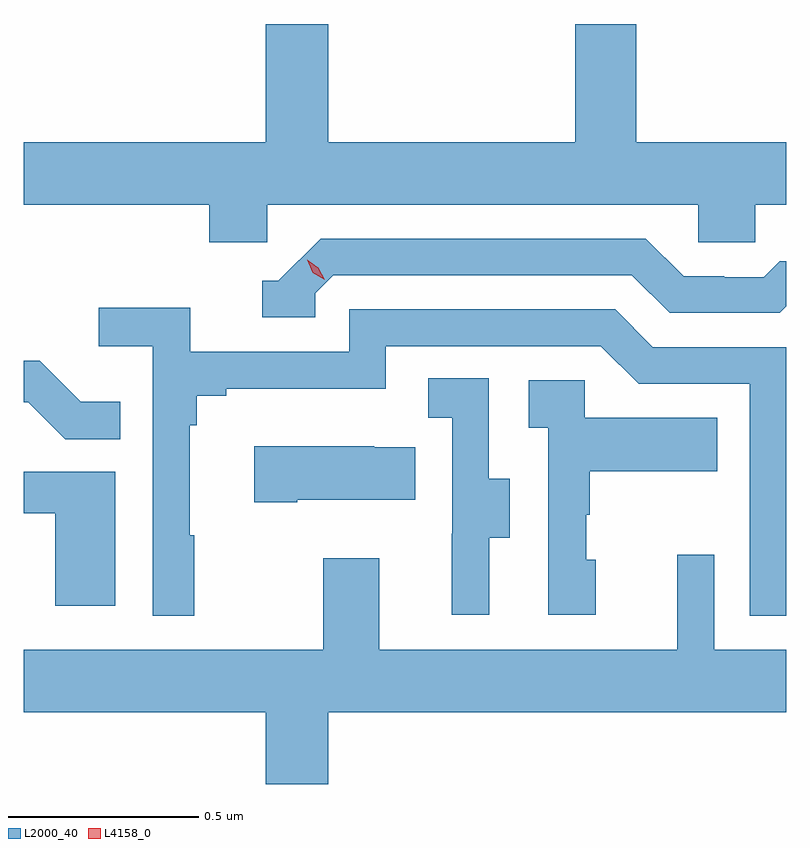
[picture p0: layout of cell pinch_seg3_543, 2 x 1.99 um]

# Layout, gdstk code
import gdstk
lib = gdstk.Library(unit=1e-6, precision=1e-09)
def P(c, l, *ps):  # polygons
    for p in ps: c.add(gdstk.Polygon(p, *l))
L2000_40 = (2000, 40)
L4158_0 = (4158, 0)

pinch_seg3_543 = lib.new_cell('pinch_seg3_543')
P(pinch_seg3_543, L2000_40, [(1124.052,698.252),(1125.183,698.252),(1125.183,698.154),(1125.333,698.154),(1125.333,698.252),(1125.414,698.252),(1125.414,698.416),(1125.021,698.416),(1125.021,698.726),(1124.861,698.726),(1124.861,698.416),(1124.212,698.416),(1124.212,698.726),(1124.048,698.726),(1124.048,698.416),(1123.414,698.416),(1123.414,698.252),(1123.901,698.252),(1123.901,698.154),(1124.052,698.154)],
  [(1124.178,698.019),(1124.226,698.067),(1125.009,698.067),(1125.108,697.968),(1125.397,697.968),(1125.414,697.985),(1125.414,698.104),(1125.397,698.104),(1125.355,698.061),(1125.252,698.061),(1125.252,698.064),(1125.145,698.064),(1125.046,698.163),(1124.193,698.163),(1124.082,698.052),(1124.039,698.052),(1124.039,697.956),(1124.178,697.956)],
  [(1123.861,697.385),(1123.849,697.385),(1123.849,697.673),(1123.868,697.673),(1123.868,697.75),(1123.945,697.75),(1123.945,697.769),(1124.364,697.769),(1124.364,697.881),(1124.928,697.881),(1125.027,697.782),(1125.318,697.782),(1125.318,697.173),(1125.414,697.173),(1125.414,697.878),(1125.064,697.878),(1124.965,697.977),(1124.268,697.977),(1124.268,697.866),(1123.85,697.866),(1123.85,697.982),(1123.611,697.982),(1123.611,697.88),(1123.752,697.88),(1123.752,697.173),(1123.861,697.173)],
  [(1123.667,697.735),(1123.563,697.735),(1123.456,697.842),(1123.414,697.842),(1123.414,697.734),(1123.425,697.734),(1123.523,697.636),(1123.667,697.636)],
  [(1124.635,697.378),(1124.689,697.378),(1124.689,697.533),(1124.634,697.533),(1124.634,697.796),(1124.475,697.796),(1124.475,697.693),(1124.538,697.693),(1124.538,697.389),(1124.537,697.389),(1124.537,697.176),(1124.635,697.176)],
  [(1124.914,697.32),(1124.889,697.32),(1124.889,697.439),(1124.899,697.439),(1124.899,697.553),(1125.233,697.553),(1125.233,697.693),(1124.886,697.693),(1124.886,697.791),(1124.739,697.791),(1124.739,697.667),(1124.79,697.667),(1124.79,697.176),(1124.914,697.176)],
  [(1124.131,697.478),(1124.441,697.478),(1124.441,697.615),(1124.333,697.615),(1124.333,697.618),(1124.019,697.618),(1124.019,697.471),(1124.131,697.471)],
  [(1123.654,697.551),(1123.414,697.551),(1123.414,697.443),(1123.496,697.443),(1123.496,697.2),(1123.654,697.2)],
  [(1124.212,696.92),(1125.414,696.92),(1125.414,697.084),(1125.225,697.084),(1125.225,697.333),(1125.128,697.333),(1125.128,697.084),(1124.347,697.084),(1124.347,697.324),(1124.2,697.324),(1124.2,697.084),(1123.414,697.084),(1123.414,696.92),(1124.048,696.92),(1124.048,696.732),(1124.212,696.732)])
P(pinch_seg3_543, L4158_0, [(1124.203,698.055),(1124.172,698.074),(1124.157,698.107),(1124.157,698.107),(1124.157,698.107),(1124.187,698.087),(1124.203,698.055),(1124.203,698.055)])

lib.write_gds('pinch_seg3_543.gds')
